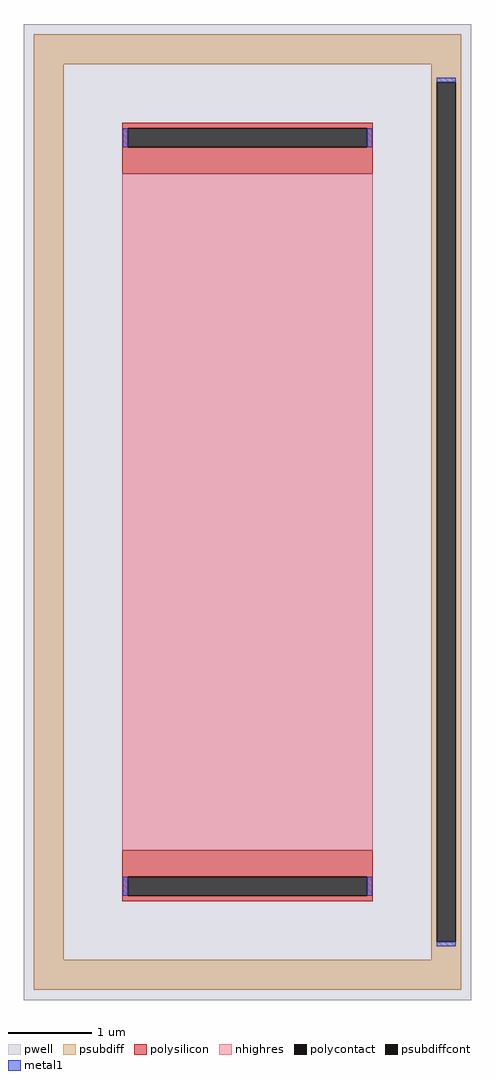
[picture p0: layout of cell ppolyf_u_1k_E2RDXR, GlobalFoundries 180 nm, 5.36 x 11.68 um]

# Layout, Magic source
magic
tech gf180mcuD
magscale 1 10
<< pwell >>
rect -536 -1168 536 1168
<< psubdiff >>
rect -512 1072 512 1144
rect -512 -1072 -440 1072
rect 440 1028 512 1072
rect 440 -1028 453 1028
rect 499 -1028 512 1028
rect 440 -1072 512 -1028
rect -512 -1144 512 -1072
<< psubdiffcont >>
rect 453 -1028 499 1028
<< polysilicon >>
rect -300 919 300 932
rect -300 873 -287 919
rect 287 873 300 919
rect -300 810 300 873
rect -300 -873 300 -810
rect -300 -919 -287 -873
rect 287 -919 300 -873
rect -300 -932 300 -919
<< polycontact >>
rect -287 873 287 919
rect -287 -919 287 -873
<< nhighres >>
rect -300 -810 300 810
<< metal1 >>
rect 453 1028 499 1039
rect -298 873 -287 919
rect 287 873 298 919
rect -298 -919 -287 -873
rect 287 -919 298 -873
rect 453 -1039 499 -1028
<< properties >>
string FIXED_BBOX -476 -1108 476 1108
string gencell ppolyf_u_1k
string library gf180mcu
string parameters w 3.0 l 8.1 m 1 nx 1 wmin 1.000 lmin 1.000 class resistor rho 1000 val 2.7k dummy 0 dw 0.0 term 0.0 sterm 0.0 caplen 0.4 snake 0 glc 0 grc 1 gtc 0 gbc 0 roverlap 0 endcov 100 full_metal 0 compatible {ppolyf_u_1k ppolyf_u_1k_6p0}
<< end >>
